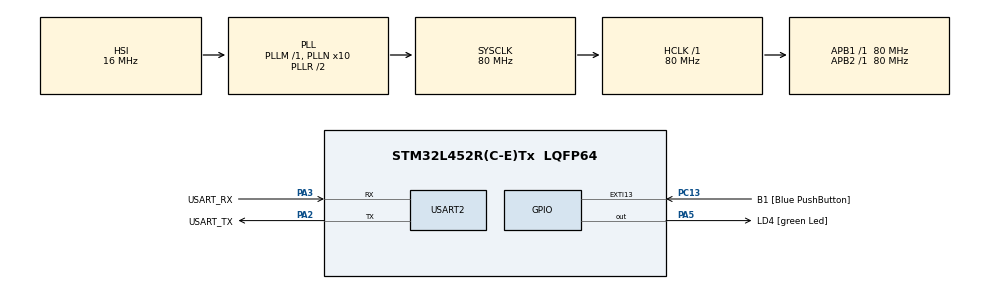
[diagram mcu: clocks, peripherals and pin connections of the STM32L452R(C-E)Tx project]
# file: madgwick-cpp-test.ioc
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Mcu.Family=STM32L4
Mcu.Name=STM32L452R(C-E)Tx
Mcu.Package=LQFP64
NVIC.PriorityGroup=NVIC_PRIORITYGROUP_4
PA13\ (JTMS/SWDIO).GPIO_Label=TMS
PA13\ (JTMS/SWDIO).Mode=Serial_Wire
PA13\ (JTMS/SWDIO).Signal=SYS_JTMS-SWDIO
PA14\ (JTCK/SWCLK).GPIO_Label=TCK
PA14\ (JTCK/SWCLK).Mode=Serial_Wire
PA14\ (JTCK/SWCLK).Signal=SYS_JTCK-SWCLK
PA2.GPIO_Label=USART_TX
PA2.GPIO_Mode=GPIO_MODE_AF_PP
PA2.GPIO_PuPd=GPIO_NOPULL
PA2.GPIO_Speed=GPIO_SPEED_FREQ_VERY_HIGH
PA2.Mode=Asynchronous
PA2.Signal=USART2_TX
PA3.GPIO_Label=USART_RX
PA3.GPIO_Mode=GPIO_MODE_AF_PP
PA3.GPIO_PuPd=GPIO_NOPULL
PA3.GPIO_Speed=GPIO_SPEED_FREQ_VERY_HIGH
PA3.Mode=Asynchronous
PA3.Signal=USART2_RX
PA5.GPIO_Label=LD4 [green Led]
PA5.GPIO_ModeDefaultOutputPP=GPIO_MODE_OUTPUT_PP
PA5.GPIO_PuPd=GPIO_NOPULL
PA5.GPIO_Speed=GPIO_SPEED_FREQ_LOW
PA5.Signal=GPIO_Output
PB3\ (JTDO/TRACESWO).GPIO_Label=SWO
PB3\ (JTDO/TRACESWO).Signal=SYS_JTDO-SWO
PC13.GPIO_Label=B1 [Blue PushButton]
PC13.GPIO_ModeDefaultEXTI=GPIO_MODE_IT_FALLING
PC13.GPIO_PuPd=GPIO_NOPULL
PC13.Signal=GPXTI13
PC14-OSC32_IN\ (PC14).Mode=LSE-External-Oscillator
PC14-OSC32_IN\ (PC14).Signal=RCC_OSC32_IN
PC15-OSC32_OUT\ (PC15).Mode=LSE-External-Oscillator
PC15-OSC32_OUT\ (PC15).Signal=RCC_OSC32_OUT
PH0-OSC_IN\ (PH0).Signal=RCC_OSC_IN
PH1-OSC_OUT\ (PH1).Signal=RCC_OSC_OUT
ProjectManager.HeapSize=0x200
ProjectManager.StackSize=0x400
ProjectManager.TargetToolchain=STM32CubeIDE
RCC.ADCFreq_Value=64000000
RCC.AHBFreq_Value=80000000
RCC.APB1Freq_Value=80000000
RCC.APB1TimFreq_Value=80000000
RCC.APB2Freq_Value=80000000
RCC.APB2TimFreq_Value=80000000
RCC.CortexFreq_Value=80000000
RCC.HCLKFreq_Value=80000000
RCC.HSE_VALUE=8000000
RCC.HSI48_VALUE=48000000
RCC.HSI_VALUE=16000000
RCC.MSI_VALUE=4000000
RCC.PLLN=10
RCC.PLLSourceVirtual=RCC_PLLSOURCE_HSI
RCC.PREFETCH_ENABLE=1
RCC.SYSCLKFreq_VALUE=80000000
RCC.SYSCLKSource=RCC_SYSCLKSOURCE_PLLCLK
RCC.USBFreq_Value=64000000
RCC.VCOOutputFreq_Value=160000000
USART2.VirtualMode-Asynchronous=VM_ASYNC
board=NUCLEO-L452RE

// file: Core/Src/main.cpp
/* USER CODE BEGIN Header */
/**
  ******************************************************************************
  * @file           : main.c
  * @brief          : Main program body
  ******************************************************************************
  * @attention
  *
  * Copyright (c) 2023 STMicroelectronics.
  * All rights reserved.
  *
  * This software is licensed under terms that can be found in the LICENSE file
  * in the root directory of this software component.
  * If no LICENSE file comes with this software, it is provided AS-IS.
  *
  ******************************************************************************
  * Date finished: Jun 9
  * Celine Kwan
  * Outputs roll, pitch, yaw in degrees and radians
  * Gyro, Accel data are hardcoded
  * Purpose was to test building of code with cpp main file and Madgwick library .h and .cpp files.
  * SUCCESS
  */
/* USER CODE END Header */
#include "main.h"

/* USER CODE BEGIN Includes */
#include <stdio.h> // for sprintf
#include <string.h>
#include "MadgwickAHRS.h"
/* USER CODE END Includes */

UART_HandleTypeDef huart2;

void SystemClock_Config(void);
static void MX_GPIO_Init(void);
static void MX_USART2_UART_Init(void);

int main(void)
{

  /* MCU Configuration--------------------------------------------------------*/

  /* Reset of all peripherals, Initializes the Flash interface and the Systick. */
  HAL_Init();

  /* Configure the system clock */
  SystemClock_Config();

  /* Initialize all configured peripherals */
  MX_GPIO_Init();
  MX_USART2_UART_Init();
  /* USER CODE BEGIN 2 */
  Madgwick filter;
  uint32_t microsPerReading, microsPrevious; // unsigned long
  float accelScale, gyroScale;

  char buf[50]; // for printing HAL_GetTick()
  int len;

  filter.begin(25);

  // initialize variables to pace updates to correct rate
//  microsPerReading = 1000000 / 25;
  microsPerReading = 1000; // 1000 ms == 1s
  microsPrevious = HAL_GetTick();

  // test
  len = sprintf(buf, "\r\n setup ms: %u", microsPrevious); // Convert uint32_t to string
  HAL_UART_Transmit(&huart2, (uint8_t*)buf, len, 10);

  /* USER CODE END 2 */

  /* Infinite loop */
  while (1)
  {

    /* USER CODE BEGIN 3 */
	int aix, aiy, aiz;
	int gix, giy, giz;
	float ax, ay, az;
	float gx, gy, gz;
	float roll, pitch, heading;
	float roll_rad, pitch_rad, heading_rad;
	unsigned long microsNow;

	// check if it's time to read data and update the filter
	microsNow = HAL_GetTick();

//	len = sprintf(buf, "\r\n check ms: %u", microsNow); // Convert uint32_t to string
//	HAL_UART_Transmit(&huart2, (uint8_t*)buf, len, 10);

	if (microsNow - microsPrevious >= microsPerReading) {

		ax = 1;
		ay = 0;
		az = 0;
		gx = 15;
		gy = 25;
		gz = 35;

		filter.updateIMU(gx, gy, gz, ax, ay, az);

		roll = filter.getRoll();
		pitch = filter.getPitch();
		heading = filter.getYaw();

		len = sprintf (buf, "\r\n [DEG]roll:% 4f \t pitch: % 4f \t heading/yaw: % 4f", roll, pitch, heading); // needed to add -u _printf_float linker flag -- might have to change to %.4f
		HAL_UART_Transmit(&huart2,(uint8_t*)buf,len,HAL_MAX_DELAY);

		roll_rad = filter.getRollRadians();
		pitch_rad = filter.getPitchRadians();
		heading_rad = filter.getYawRadians();

		len = sprintf (buf, "\r\n [RAD]roll:% 4f \t pitch: % 4f \t heading/yaw: % 4f", roll_rad, pitch_rad, heading_rad); // needed to add -u _printf_float linker flag -- might have to change to %.4f
		HAL_UART_Transmit(&huart2,(uint8_t*)buf,len,HAL_MAX_DELAY);

		// increment previous time, so we keep proper pace
		microsPrevious = microsPrevious + microsPerReading;

		len = sprintf(buf, "\r\n incremented ms: %u", microsPrevious); // Convert uint32_t to string
		HAL_UART_Transmit(&huart2, (uint8_t*)buf, len, 10);

	}

  }
  /* USER CODE END 3 */
}

void SystemClock_Config(void)
{
  RCC_OscInitTypeDef RCC_OscInitStruct = {0};
  RCC_ClkInitTypeDef RCC_ClkInitStruct = {0};

  /** Configure the main internal regulator output voltage
  */
  if (HAL_PWREx_ControlVoltageScaling(PWR_REGULATOR_VOLTAGE_SCALE1) != HAL_OK)
  {
    Error_Handler();
  }

  /** Initializes the RCC Oscillators according to the specified parameters
  * in the RCC_OscInitTypeDef structure.
  */
  RCC_OscInitStruct.OscillatorType = RCC_OSCILLATORTYPE_HSI;
  RCC_OscInitStruct.HSIState = RCC_HSI_ON;
  RCC_OscInitStruct.HSICalibrationValue = RCC_HSICALIBRATION_DEFAULT;
  RCC_OscInitStruct.PLL.PLLState = RCC_PLL_ON;
  RCC_OscInitStruct.PLL.PLLSource = RCC_PLLSOURCE_HSI;
  RCC_OscInitStruct.PLL.PLLM = 1;
  RCC_OscInitStruct.PLL.PLLN = 10;
  RCC_OscInitStruct.PLL.PLLP = RCC_PLLP_DIV7;
  RCC_OscInitStruct.PLL.PLLQ = RCC_PLLQ_DIV2;
  RCC_OscInitStruct.PLL.PLLR = RCC_PLLR_DIV2;
  if (HAL_RCC_OscConfig(&RCC_OscInitStruct) != HAL_OK)
  {
    Error_Handler();
  }

  /** Initializes the CPU, AHB and APB buses clocks
  */
  RCC_ClkInitStruct.ClockType = RCC_CLOCKTYPE_HCLK|RCC_CLOCKTYPE_SYSCLK
                              |RCC_CLOCKTYPE_PCLK1|RCC_CLOCKTYPE_PCLK2;
  RCC_ClkInitStruct.SYSCLKSource = RCC_SYSCLKSOURCE_PLLCLK;
  RCC_ClkInitStruct.AHBCLKDivider = RCC_SYSCLK_DIV1;
  RCC_ClkInitStruct.APB1CLKDivider = RCC_HCLK_DIV1;
  RCC_ClkInitStruct.APB2CLKDivider = RCC_HCLK_DIV1;

  if (HAL_RCC_ClockConfig(&RCC_ClkInitStruct, FLASH_LATENCY_4) != HAL_OK)
  {
    Error_Handler();
  }
}

static void MX_USART2_UART_Init(void)
{

  huart2.Instance = USART2;
  huart2.Init.BaudRate = 115200;
  huart2.Init.WordLength = UART_WORDLENGTH_8B;
  huart2.Init.StopBits = UART_STOPBITS_1;
  huart2.Init.Parity = UART_PARITY_NONE;
  huart2.Init.Mode = UART_MODE_TX_RX;
  huart2.Init.HwFlowCtl = UART_HWCONTROL_NONE;
  huart2.Init.OverSampling = UART_OVERSAMPLING_16;
  huart2.Init.OneBitSampling = UART_ONE_BIT_SAMPLE_DISABLE;
  huart2.AdvancedInit.AdvFeatureInit = UART_ADVFEATURE_NO_INIT;
  if (HAL_UART_Init(&huart2) != HAL_OK)
  {
    Error_Handler();
  }

}

static void MX_GPIO_Init(void)
{
  GPIO_InitTypeDef GPIO_InitStruct = {0};

  /* GPIO Ports Clock Enable */
  __HAL_RCC_GPIOC_CLK_ENABLE();
  __HAL_RCC_GPIOH_CLK_ENABLE();
  __HAL_RCC_GPIOA_CLK_ENABLE();
  __HAL_RCC_GPIOB_CLK_ENABLE();

  /*Configure GPIO pin Output Level */
  HAL_GPIO_WritePin(LD4_GPIO_Port, LD4_Pin, GPIO_PIN_RESET);

  /*Configure GPIO pin : B1_Pin */
  GPIO_InitStruct.Pin = B1_Pin;
  GPIO_InitStruct.Mode = GPIO_MODE_IT_FALLING;
  GPIO_InitStruct.Pull = GPIO_NOPULL;
  HAL_GPIO_Init(B1_GPIO_Port, &GPIO_InitStruct);

  /*Configure GPIO pin : LD4_Pin */
  GPIO_InitStruct.Pin = LD4_Pin;
  GPIO_InitStruct.Mode = GPIO_MODE_OUTPUT_PP;
  GPIO_InitStruct.Pull = GPIO_NOPULL;
  GPIO_InitStruct.Speed = GPIO_SPEED_FREQ_LOW;
  HAL_GPIO_Init(LD4_GPIO_Port, &GPIO_InitStruct);

}

void Error_Handler(void)
{
  __disable_irq();
  while (1)
  {
  }
}
